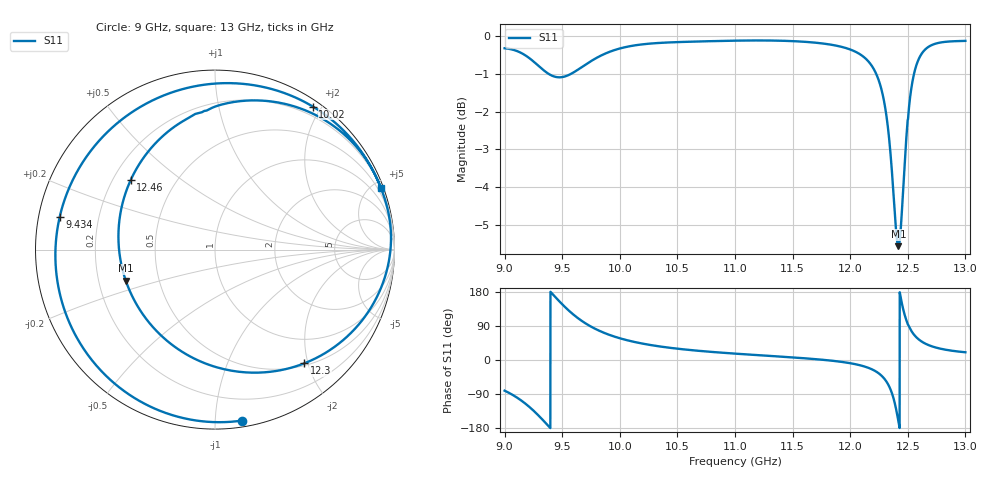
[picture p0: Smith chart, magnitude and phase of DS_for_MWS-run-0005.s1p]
! TOUCHSTONE file generated by CST DESIGN STUDIO
! Date and time: Tue Feb  4 16:25:41 2025
! Project name: C:\Work\MatlabApps\UnitCellOptimizationMatlab\CST\unitcell.cst
! Tree item: Tasks\Sweep1\SPara1\S-Parameters
! Header version: 2024
! Port assignment regex: !\s*Touchstone port\s*([0-9]+)\s*=\s*(CST MWS port|CST DES external port|CST DES block port)\s*(.+)\s* \(\"(.*)\"\)(\s*mode\s*([0-9]+))?.*
! Touchstone port assignment:
! Touchstone port 1 = CST DES external port 1 ("")
# GHz S MA R 50
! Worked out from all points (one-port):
!   4001 points, 9 GHz to 13 GHz, reference 50 ohm
!   lowest |S11| = -5.6 dB at 12.42 GHz (marker M1), VSWR 3.22, Z = 15.9 - j7.6 ohm
!   |S11| at or under -10 dB: nowhere
!   S11 on the Smith chart (normalised r, x): 9 GHz: 0.04, -1.17; 9.434 GHz: 0.06, +0.10; 10.02 GHz: 0.08, +1.89; 12.3 GHz: 0.54, -1.94; 12.46 GHz: 0.27, +0.34; 13 GHz: 0.22, +5.55
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9  0.9644 -80.9
9.12  0.9545 -101.7
9.216  0.9353 -124.1
9.334  0.9029 -159.0
9.434  0.8842 168.1
9.5  0.883 147.1
9.593  0.8947 121.0
9.694  0.9155 98.3
9.841  0.9438 74.6
10  0.9637 57.4
10.02  0.9655 55.6
10.227  0.9772 41.6
10.5  0.9827 29.8
11  0.9871 16.8
11.5  0.9857 6.8
12  0.9608 -8.5
12.196  0.9097 -25.7
12.256  0.8666 -37.1
12.303  0.8054 -51.9
12.368  0.6431 -92.9
12.393  0.5655 -121.9
12.418  0.5263 -160.9
12.455  0.6088 140.5
12.5  0.7748 94.4
12.569  0.9101 61.6
12.653  0.9615 43.1
12.782  0.9814 30.0
13  0.9864 20.4
